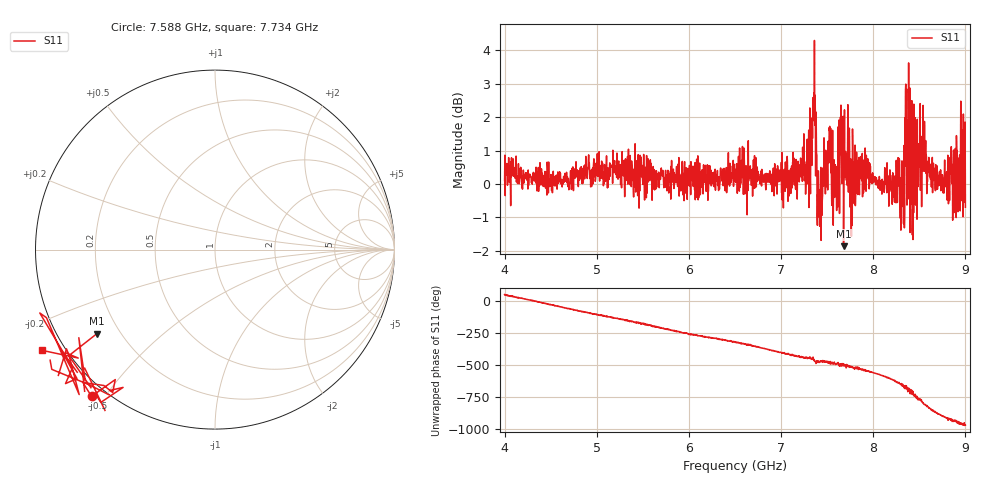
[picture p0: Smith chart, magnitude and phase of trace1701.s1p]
! Created with skrf 1.8.0 (http://scikit-rf.org).
# Hz S RI R 50.0
!freq ReS11 ImS11
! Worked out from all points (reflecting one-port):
!   1601 points, 4 GHz to 9 GHz, reference 50 ohm
!   lowest |S11| = -1.9 dB at 7.678 GHz (marker M1), VSWR 9.38, Z = 5.87 - j15.8 ohm
!   phase of S11 starts at 54 deg and turns -1021 deg over the sweep
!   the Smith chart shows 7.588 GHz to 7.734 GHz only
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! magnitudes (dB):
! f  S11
! 4 GHz  0.1
! 4.625 GHz  -0.1
! 5.25 GHz  0.2
! 5.875 GHz  0.1
! 6.5 GHz  0.2
! 7.125 GHz  0.6
! 7.278 GHz  0.0
! 7.328 GHz  1.1
! 7.347 GHz  2.6
! 7.362 GHz  4.3
! 7.416 GHz  -0.9
! 7.519 GHz  0.7
! 7.591 GHz  0.4
! 7.65 GHz  2.4
! 7.678 GHz  -1.9
! 7.75 GHz  0.2
! 7.784 GHz  0.4
! 8.259 GHz  0.5
! 8.316 GHz  -0.1
! 8.338 GHz  -1.3
! 8.375 GHz  0.8
! 8.412 GHz  -0.4
! 8.459 GHz  -0.6
! 8.553 GHz  0.4
! 8.606 GHz  0.7
! 8.803 GHz  -0.5
! 8.972 GHz  -0.1
! 9 GHz  -0.7
